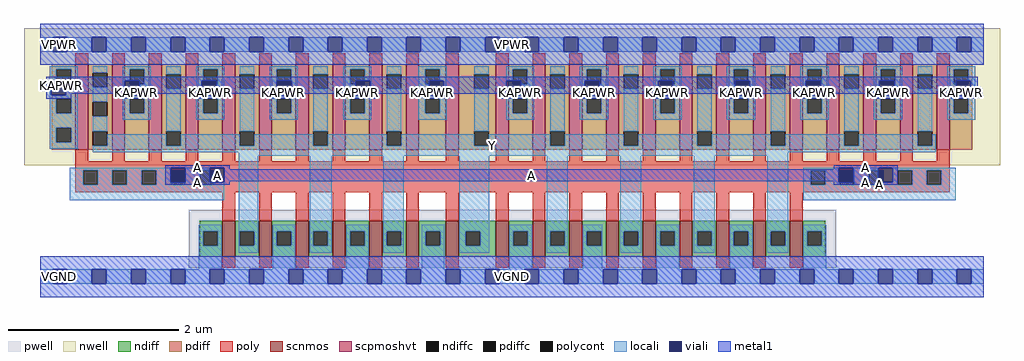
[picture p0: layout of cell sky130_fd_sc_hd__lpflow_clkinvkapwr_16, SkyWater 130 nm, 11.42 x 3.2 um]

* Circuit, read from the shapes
.subckt sky130_fd_sc_hd__lpflow_clkinvkapwr_16 A KAPWR VGND VNB VPB VPWR Y
XM1 Y A VGND VNB sky130_fd_pr__nfet_01v8 w=0.42 l=0.15 m=16
XM2 Y A KAPWR VPB sky130_fd_pr__pfet_01v8_hvt w=1 l=0.15 m=24
.ends

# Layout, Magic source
magic
tech sky130B
magscale 1 2
<< nwell >>
rect -38 261 2246 582
<< pwell >>
rect 347 21 1863 157
rect 29 -17 63 17
<< scnmos >>
rect 426 47 456 131
rect 512 47 542 131
rect 598 47 628 131
rect 684 47 714 131
rect 770 47 800 131
rect 856 47 886 131
rect 949 47 979 131
rect 1066 47 1096 131
rect 1152 47 1182 131
rect 1238 47 1268 131
rect 1324 47 1354 131
rect 1410 47 1440 131
rect 1496 47 1526 131
rect 1582 47 1612 131
rect 1668 47 1698 131
rect 1754 47 1784 131
<< scpmoshvt >>
rect 82 297 112 497
rect 168 297 198 497
rect 254 297 284 497
rect 340 297 370 497
rect 426 297 456 497
rect 512 297 542 497
rect 598 297 628 497
rect 684 297 714 497
rect 770 297 800 497
rect 856 297 886 497
rect 949 297 979 497
rect 1066 297 1096 497
rect 1152 297 1182 497
rect 1238 297 1268 497
rect 1324 297 1354 497
rect 1410 297 1440 497
rect 1496 297 1526 497
rect 1582 297 1612 497
rect 1668 297 1698 497
rect 1754 297 1784 497
rect 1840 297 1870 497
rect 1926 297 1956 497
rect 2012 297 2042 497
rect 2098 297 2128 497
<< ndiff >>
rect 373 106 426 131
rect 373 72 381 106
rect 415 72 426 106
rect 373 47 426 72
rect 456 106 512 131
rect 456 72 467 106
rect 501 72 512 106
rect 456 47 512 72
rect 542 106 598 131
rect 542 72 553 106
rect 587 72 598 106
rect 542 47 598 72
rect 628 106 684 131
rect 628 72 639 106
rect 673 72 684 106
rect 628 47 684 72
rect 714 106 770 131
rect 714 72 725 106
rect 759 72 770 106
rect 714 47 770 72
rect 800 106 856 131
rect 800 72 811 106
rect 845 72 856 106
rect 800 47 856 72
rect 886 106 949 131
rect 886 72 902 106
rect 936 72 949 106
rect 886 47 949 72
rect 979 106 1066 131
rect 979 72 996 106
rect 1030 72 1066 106
rect 979 47 1066 72
rect 1096 106 1152 131
rect 1096 72 1107 106
rect 1141 72 1152 106
rect 1096 47 1152 72
rect 1182 106 1238 131
rect 1182 72 1193 106
rect 1227 72 1238 106
rect 1182 47 1238 72
rect 1268 106 1324 131
rect 1268 72 1279 106
rect 1313 72 1324 106
rect 1268 47 1324 72
rect 1354 106 1410 131
rect 1354 72 1365 106
rect 1399 72 1410 106
rect 1354 47 1410 72
rect 1440 106 1496 131
rect 1440 72 1451 106
rect 1485 72 1496 106
rect 1440 47 1496 72
rect 1526 106 1582 131
rect 1526 72 1537 106
rect 1571 72 1582 106
rect 1526 47 1582 72
rect 1612 106 1668 131
rect 1612 72 1623 106
rect 1657 72 1668 106
rect 1612 47 1668 72
rect 1698 106 1754 131
rect 1698 72 1709 106
rect 1743 72 1754 106
rect 1698 47 1754 72
rect 1784 106 1837 131
rect 1784 72 1795 106
rect 1829 72 1837 106
rect 1784 47 1837 72
<< pdiff >>
rect 27 485 82 497
rect 27 451 38 485
rect 72 451 82 485
rect 27 417 82 451
rect 27 383 38 417
rect 72 383 82 417
rect 27 349 82 383
rect 27 315 38 349
rect 72 315 82 349
rect 27 297 82 315
rect 112 477 168 497
rect 112 443 123 477
rect 157 443 168 477
rect 112 409 168 443
rect 112 375 123 409
rect 157 375 168 409
rect 112 341 168 375
rect 112 307 123 341
rect 157 307 168 341
rect 112 297 168 307
rect 198 485 254 497
rect 198 451 209 485
rect 243 451 254 485
rect 198 417 254 451
rect 198 383 209 417
rect 243 383 254 417
rect 198 297 254 383
rect 284 474 340 497
rect 284 440 295 474
rect 329 440 340 474
rect 284 341 340 440
rect 284 307 295 341
rect 329 307 340 341
rect 284 297 340 307
rect 370 485 426 497
rect 370 451 381 485
rect 415 451 426 485
rect 370 417 426 451
rect 370 383 381 417
rect 415 383 426 417
rect 370 297 426 383
rect 456 474 512 497
rect 456 440 467 474
rect 501 440 512 474
rect 456 341 512 440
rect 456 307 467 341
rect 501 307 512 341
rect 456 297 512 307
rect 542 485 598 497
rect 542 451 553 485
rect 587 451 598 485
rect 542 417 598 451
rect 542 383 553 417
rect 587 383 598 417
rect 542 297 598 383
rect 628 474 684 497
rect 628 440 639 474
rect 673 440 684 474
rect 628 341 684 440
rect 628 307 639 341
rect 673 307 684 341
rect 628 297 684 307
rect 714 485 770 497
rect 714 451 725 485
rect 759 451 770 485
rect 714 417 770 451
rect 714 383 725 417
rect 759 383 770 417
rect 714 297 770 383
rect 800 474 856 497
rect 800 440 811 474
rect 845 440 856 474
rect 800 341 856 440
rect 800 307 811 341
rect 845 307 856 341
rect 800 297 856 307
rect 886 485 949 497
rect 886 451 901 485
rect 935 451 949 485
rect 886 417 949 451
rect 886 383 901 417
rect 935 383 949 417
rect 886 297 949 383
rect 979 474 1066 497
rect 979 440 1016 474
rect 1050 440 1066 474
rect 979 341 1066 440
rect 979 307 1016 341
rect 1050 307 1066 341
rect 979 297 1066 307
rect 1096 485 1152 497
rect 1096 451 1106 485
rect 1140 451 1152 485
rect 1096 417 1152 451
rect 1096 383 1106 417
rect 1140 383 1152 417
rect 1096 297 1152 383
rect 1182 474 1238 497
rect 1182 440 1193 474
rect 1227 440 1238 474
rect 1182 341 1238 440
rect 1182 307 1193 341
rect 1227 307 1238 341
rect 1182 297 1238 307
rect 1268 485 1324 497
rect 1268 451 1279 485
rect 1313 451 1324 485
rect 1268 417 1324 451
rect 1268 383 1279 417
rect 1313 383 1324 417
rect 1268 297 1324 383
rect 1354 474 1410 497
rect 1354 440 1365 474
rect 1399 440 1410 474
rect 1354 341 1410 440
rect 1354 307 1365 341
rect 1399 307 1410 341
rect 1354 297 1410 307
rect 1440 485 1496 497
rect 1440 451 1451 485
rect 1485 451 1496 485
rect 1440 417 1496 451
rect 1440 383 1451 417
rect 1485 383 1496 417
rect 1440 297 1496 383
rect 1526 474 1582 497
rect 1526 440 1537 474
rect 1571 440 1582 474
rect 1526 341 1582 440
rect 1526 307 1537 341
rect 1571 307 1582 341
rect 1526 297 1582 307
rect 1612 485 1668 497
rect 1612 451 1623 485
rect 1657 451 1668 485
rect 1612 417 1668 451
rect 1612 383 1623 417
rect 1657 383 1668 417
rect 1612 297 1668 383
rect 1698 474 1754 497
rect 1698 440 1709 474
rect 1743 440 1754 474
rect 1698 341 1754 440
rect 1698 307 1709 341
rect 1743 307 1754 341
rect 1698 297 1754 307
rect 1784 485 1840 497
rect 1784 451 1795 485
rect 1829 451 1840 485
rect 1784 417 1840 451
rect 1784 383 1795 417
rect 1829 383 1840 417
rect 1784 297 1840 383
rect 1870 474 1926 497
rect 1870 440 1881 474
rect 1915 440 1926 474
rect 1870 341 1926 440
rect 1870 307 1881 341
rect 1915 307 1926 341
rect 1870 297 1926 307
rect 1956 485 2012 497
rect 1956 451 1967 485
rect 2001 451 2012 485
rect 1956 417 2012 451
rect 1956 383 1967 417
rect 2001 383 2012 417
rect 1956 297 2012 383
rect 2042 474 2098 497
rect 2042 440 2053 474
rect 2087 440 2098 474
rect 2042 341 2098 440
rect 2042 307 2053 341
rect 2087 307 2098 341
rect 2042 297 2098 307
rect 2128 485 2181 497
rect 2128 451 2138 485
rect 2172 451 2181 485
rect 2128 417 2181 451
rect 2128 383 2138 417
rect 2172 383 2181 417
rect 2128 297 2181 383
<< ndiffc >>
rect 381 72 415 106
rect 467 72 501 106
rect 553 72 587 106
rect 639 72 673 106
rect 725 72 759 106
rect 811 72 845 106
rect 902 72 936 106
rect 996 72 1030 106
rect 1107 72 1141 106
rect 1193 72 1227 106
rect 1279 72 1313 106
rect 1365 72 1399 106
rect 1451 72 1485 106
rect 1537 72 1571 106
rect 1623 72 1657 106
rect 1709 72 1743 106
rect 1795 72 1829 106
<< pdiffc >>
rect 38 451 72 485
rect 38 383 72 417
rect 38 315 72 349
rect 123 443 157 477
rect 123 375 157 409
rect 123 307 157 341
rect 209 451 243 485
rect 209 383 243 417
rect 295 440 329 474
rect 295 307 329 341
rect 381 451 415 485
rect 381 383 415 417
rect 467 440 501 474
rect 467 307 501 341
rect 553 451 587 485
rect 553 383 587 417
rect 639 440 673 474
rect 639 307 673 341
rect 725 451 759 485
rect 725 383 759 417
rect 811 440 845 474
rect 811 307 845 341
rect 901 451 935 485
rect 901 383 935 417
rect 1016 440 1050 474
rect 1016 307 1050 341
rect 1106 451 1140 485
rect 1106 383 1140 417
rect 1193 440 1227 474
rect 1193 307 1227 341
rect 1279 451 1313 485
rect 1279 383 1313 417
rect 1365 440 1399 474
rect 1365 307 1399 341
rect 1451 451 1485 485
rect 1451 383 1485 417
rect 1537 440 1571 474
rect 1537 307 1571 341
rect 1623 451 1657 485
rect 1623 383 1657 417
rect 1709 440 1743 474
rect 1709 307 1743 341
rect 1795 451 1829 485
rect 1795 383 1829 417
rect 1881 440 1915 474
rect 1881 307 1915 341
rect 1967 451 2001 485
rect 1967 383 2001 417
rect 2053 440 2087 474
rect 2053 307 2087 341
rect 2138 451 2172 485
rect 2138 383 2172 417
<< poly >>
rect 82 497 112 523
rect 168 497 198 523
rect 254 497 284 523
rect 340 497 370 523
rect 426 497 456 523
rect 512 497 542 523
rect 598 497 628 523
rect 684 497 714 523
rect 770 497 800 523
rect 856 497 886 523
rect 949 497 979 523
rect 1066 497 1096 523
rect 1152 497 1182 523
rect 1238 497 1268 523
rect 1324 497 1354 523
rect 1410 497 1440 523
rect 1496 497 1526 523
rect 1582 497 1612 523
rect 1668 497 1698 523
rect 1754 497 1784 523
rect 1840 497 1870 523
rect 1926 497 1956 523
rect 2012 497 2042 523
rect 2098 497 2128 523
rect 82 270 112 297
rect 168 270 198 297
rect 254 270 284 297
rect 340 270 370 297
rect 426 270 456 297
rect 512 270 542 297
rect 598 270 628 297
rect 684 270 714 297
rect 770 270 800 297
rect 856 270 886 297
rect 949 270 979 297
rect 1066 270 1096 297
rect 1152 270 1182 297
rect 1238 270 1268 297
rect 1324 270 1354 297
rect 1410 270 1440 297
rect 1496 270 1526 297
rect 1582 270 1612 297
rect 1668 270 1698 297
rect 1754 270 1784 297
rect 1840 270 1870 297
rect 1926 270 1956 297
rect 2012 270 2042 297
rect 2098 270 2128 297
rect 82 249 2128 270
rect 82 215 101 249
rect 135 215 169 249
rect 203 215 237 249
rect 271 215 305 249
rect 339 215 373 249
rect 407 215 1803 249
rect 1837 215 1871 249
rect 1905 215 1939 249
rect 1973 215 2007 249
rect 2041 215 2075 249
rect 2109 215 2128 249
rect 82 198 2128 215
rect 426 131 456 198
rect 512 131 542 198
rect 598 131 628 198
rect 684 131 714 198
rect 770 131 800 198
rect 856 131 886 198
rect 949 131 979 198
rect 1066 131 1096 198
rect 1152 131 1182 198
rect 1238 131 1268 198
rect 1324 131 1354 198
rect 1410 131 1440 198
rect 1496 131 1526 198
rect 1582 131 1612 198
rect 1668 131 1698 198
rect 1754 131 1784 198
rect 426 21 456 47
rect 512 21 542 47
rect 598 21 628 47
rect 684 21 714 47
rect 770 21 800 47
rect 856 21 886 47
rect 949 21 979 47
rect 1066 21 1096 47
rect 1152 21 1182 47
rect 1238 21 1268 47
rect 1324 21 1354 47
rect 1410 21 1440 47
rect 1496 21 1526 47
rect 1582 21 1612 47
rect 1668 21 1698 47
rect 1754 21 1784 47
<< polycont >>
rect 101 215 135 249
rect 169 215 203 249
rect 237 215 271 249
rect 305 215 339 249
rect 373 215 407 249
rect 1803 215 1837 249
rect 1871 215 1905 249
rect 1939 215 1973 249
rect 2007 215 2041 249
rect 2075 215 2109 249
<< locali >>
rect 0 527 29 561
rect 63 527 121 561
rect 155 527 213 561
rect 247 527 305 561
rect 339 527 397 561
rect 431 527 489 561
rect 523 527 581 561
rect 615 527 673 561
rect 707 527 765 561
rect 799 527 857 561
rect 891 527 949 561
rect 983 527 1041 561
rect 1075 527 1133 561
rect 1167 527 1225 561
rect 1259 527 1317 561
rect 1351 527 1409 561
rect 1443 527 1501 561
rect 1535 527 1593 561
rect 1627 527 1685 561
rect 1719 527 1777 561
rect 1811 527 1869 561
rect 1903 527 1961 561
rect 1995 527 2053 561
rect 2087 527 2145 561
rect 2179 527 2208 561
rect 22 485 88 493
rect 22 459 38 485
rect 22 425 26 459
rect 72 451 88 485
rect 60 425 88 451
rect 22 417 88 425
rect 22 383 38 417
rect 72 383 88 417
rect 22 349 88 383
rect 22 315 38 349
rect 72 315 88 349
rect 22 299 88 315
rect 123 477 157 493
rect 123 409 157 443
rect 123 341 157 375
rect 193 485 259 493
rect 193 459 209 485
rect 193 425 198 459
rect 243 451 259 485
rect 232 425 259 451
rect 193 417 259 425
rect 193 383 209 417
rect 243 383 259 417
rect 193 367 259 383
rect 295 474 329 493
rect 295 341 329 440
rect 365 485 431 493
rect 365 459 381 485
rect 365 425 378 459
rect 415 451 431 485
rect 412 425 431 451
rect 365 417 431 425
rect 365 383 381 417
rect 415 383 431 417
rect 365 367 431 383
rect 467 474 501 493
rect 157 307 295 333
rect 467 341 501 440
rect 537 485 603 493
rect 537 451 553 485
rect 587 459 603 485
rect 537 425 554 451
rect 588 425 603 459
rect 537 417 603 425
rect 537 383 553 417
rect 587 383 603 417
rect 537 367 603 383
rect 639 474 673 493
rect 329 307 467 333
rect 639 341 673 440
rect 709 485 775 493
rect 709 451 725 485
rect 759 459 775 485
rect 709 425 738 451
rect 772 425 775 459
rect 709 417 775 425
rect 709 383 725 417
rect 759 383 775 417
rect 709 367 775 383
rect 811 474 845 493
rect 501 307 639 333
rect 811 341 845 440
rect 885 485 951 493
rect 885 451 901 485
rect 935 459 951 485
rect 885 425 910 451
rect 944 425 951 459
rect 885 417 951 425
rect 885 383 901 417
rect 935 383 951 417
rect 885 367 951 383
rect 1016 474 1050 493
rect 673 307 811 333
rect 1016 341 1050 440
rect 1090 485 1156 493
rect 1090 459 1106 485
rect 1140 451 1156 485
rect 1124 425 1156 451
rect 1090 417 1156 425
rect 1090 383 1106 417
rect 1140 383 1156 417
rect 1090 367 1156 383
rect 1193 474 1227 493
rect 845 307 1016 333
rect 1193 341 1227 440
rect 1263 485 1329 493
rect 1263 459 1279 485
rect 1263 425 1274 459
rect 1313 451 1329 485
rect 1308 425 1329 451
rect 1263 417 1329 425
rect 1263 383 1279 417
rect 1313 383 1329 417
rect 1263 367 1329 383
rect 1365 474 1399 493
rect 1050 307 1193 333
rect 1365 341 1399 440
rect 1435 485 1501 493
rect 1435 459 1451 485
rect 1435 425 1446 459
rect 1485 451 1501 485
rect 1480 425 1501 451
rect 1435 417 1501 425
rect 1435 383 1451 417
rect 1485 383 1501 417
rect 1435 367 1501 383
rect 1537 474 1571 493
rect 1227 307 1365 333
rect 1537 341 1571 440
rect 1607 485 1673 493
rect 1607 451 1623 485
rect 1657 459 1673 485
rect 1607 425 1626 451
rect 1660 425 1673 459
rect 1607 417 1673 425
rect 1607 383 1623 417
rect 1657 383 1673 417
rect 1607 367 1673 383
rect 1709 474 1743 493
rect 1399 307 1537 333
rect 1709 341 1743 440
rect 1779 485 1845 493
rect 1779 459 1795 485
rect 1779 425 1792 459
rect 1829 451 1845 485
rect 1826 425 1845 451
rect 1779 417 1845 425
rect 1779 383 1795 417
rect 1829 383 1845 417
rect 1779 367 1845 383
rect 1881 474 1915 493
rect 1571 307 1709 333
rect 1881 341 1915 440
rect 1951 485 2017 493
rect 1951 459 1967 485
rect 1951 425 1964 459
rect 2001 451 2017 485
rect 1998 425 2017 451
rect 1951 417 2017 425
rect 1951 383 1967 417
rect 2001 383 2017 417
rect 1951 367 2017 383
rect 2053 474 2087 493
rect 1743 307 1881 333
rect 2053 341 2087 440
rect 2122 485 2188 493
rect 2122 451 2138 485
rect 2172 459 2188 485
rect 2122 425 2144 451
rect 2178 425 2188 459
rect 2122 417 2188 425
rect 2122 383 2138 417
rect 2172 383 2188 417
rect 2122 367 2188 383
rect 1915 307 2053 333
rect 2087 307 2096 333
rect 123 291 2096 307
rect 465 283 1751 291
rect 69 249 305 255
rect 339 249 397 255
rect 69 215 101 249
rect 135 215 169 249
rect 203 215 237 249
rect 271 215 305 249
rect 339 215 373 249
rect 407 215 431 221
rect 69 179 431 215
rect 371 106 425 122
rect 371 72 381 106
rect 415 72 425 106
rect 371 17 425 72
rect 465 106 510 283
rect 465 72 467 106
rect 501 72 510 106
rect 465 56 510 72
rect 544 106 597 122
rect 544 72 553 106
rect 587 72 597 106
rect 544 17 597 72
rect 631 106 682 283
rect 631 72 639 106
rect 673 72 682 106
rect 631 56 682 72
rect 716 106 769 122
rect 716 72 725 106
rect 759 72 769 106
rect 716 17 769 72
rect 803 106 851 283
rect 803 72 811 106
rect 845 72 851 106
rect 803 56 851 72
rect 893 106 946 122
rect 893 72 902 106
rect 936 72 946 106
rect 893 17 946 72
rect 981 106 1051 283
rect 981 72 996 106
rect 1030 72 1051 106
rect 981 56 1051 72
rect 1098 106 1151 122
rect 1098 72 1107 106
rect 1141 72 1151 106
rect 1098 17 1151 72
rect 1185 106 1235 283
rect 1185 72 1193 106
rect 1227 72 1235 106
rect 1185 56 1235 72
rect 1270 106 1315 122
rect 1270 72 1279 106
rect 1313 72 1315 106
rect 1270 17 1315 72
rect 1357 106 1407 283
rect 1357 72 1365 106
rect 1399 72 1407 106
rect 1357 56 1407 72
rect 1442 106 1495 122
rect 1442 72 1451 106
rect 1485 72 1495 106
rect 1442 17 1495 72
rect 1529 106 1579 283
rect 1529 72 1537 106
rect 1571 72 1579 106
rect 1529 56 1579 72
rect 1614 106 1667 122
rect 1614 72 1623 106
rect 1657 72 1667 106
rect 1614 17 1667 72
rect 1701 106 1751 283
rect 1786 249 1869 255
rect 1903 249 1961 255
rect 1995 249 2142 255
rect 1786 215 1803 249
rect 1837 221 1869 249
rect 1837 215 1871 221
rect 1905 215 1939 249
rect 1995 221 2007 249
rect 1973 215 2007 221
rect 2041 215 2075 249
rect 2109 215 2142 249
rect 1786 179 2142 215
rect 1701 72 1709 106
rect 1743 72 1751 106
rect 1701 56 1751 72
rect 1786 106 1839 122
rect 1786 72 1795 106
rect 1829 72 1839 106
rect 1786 17 1839 72
rect 0 -17 29 17
rect 63 -17 121 17
rect 155 -17 213 17
rect 247 -17 305 17
rect 339 -17 397 17
rect 431 -17 489 17
rect 523 -17 581 17
rect 615 -17 673 17
rect 707 -17 765 17
rect 799 -17 857 17
rect 891 -17 949 17
rect 983 -17 1041 17
rect 1075 -17 1133 17
rect 1167 -17 1225 17
rect 1259 -17 1317 17
rect 1351 -17 1409 17
rect 1443 -17 1501 17
rect 1535 -17 1593 17
rect 1627 -17 1685 17
rect 1719 -17 1777 17
rect 1811 -17 1869 17
rect 1903 -17 1961 17
rect 1995 -17 2053 17
rect 2087 -17 2145 17
rect 2179 -17 2208 17
<< viali >>
rect 29 527 63 561
rect 121 527 155 561
rect 213 527 247 561
rect 305 527 339 561
rect 397 527 431 561
rect 489 527 523 561
rect 581 527 615 561
rect 673 527 707 561
rect 765 527 799 561
rect 857 527 891 561
rect 949 527 983 561
rect 1041 527 1075 561
rect 1133 527 1167 561
rect 1225 527 1259 561
rect 1317 527 1351 561
rect 1409 527 1443 561
rect 1501 527 1535 561
rect 1593 527 1627 561
rect 1685 527 1719 561
rect 1777 527 1811 561
rect 1869 527 1903 561
rect 1961 527 1995 561
rect 2053 527 2087 561
rect 2145 527 2179 561
rect 26 451 38 459
rect 38 451 60 459
rect 26 425 60 451
rect 198 451 209 459
rect 209 451 232 459
rect 198 425 232 451
rect 378 451 381 459
rect 381 451 412 459
rect 378 425 412 451
rect 554 451 587 459
rect 587 451 588 459
rect 554 425 588 451
rect 738 451 759 459
rect 759 451 772 459
rect 738 425 772 451
rect 910 451 935 459
rect 935 451 944 459
rect 910 425 944 451
rect 1090 451 1106 459
rect 1106 451 1124 459
rect 1090 425 1124 451
rect 1274 451 1279 459
rect 1279 451 1308 459
rect 1274 425 1308 451
rect 1446 451 1451 459
rect 1451 451 1480 459
rect 1446 425 1480 451
rect 1626 451 1657 459
rect 1657 451 1660 459
rect 1626 425 1660 451
rect 1792 451 1795 459
rect 1795 451 1826 459
rect 1792 425 1826 451
rect 1964 451 1967 459
rect 1967 451 1998 459
rect 1964 425 1998 451
rect 2144 451 2172 459
rect 2172 451 2178 459
rect 2144 425 2178 451
rect 305 249 339 255
rect 397 249 431 255
rect 305 221 339 249
rect 397 221 407 249
rect 407 221 431 249
rect 1869 249 1903 255
rect 1961 249 1995 255
rect 1869 221 1871 249
rect 1871 221 1903 249
rect 1961 221 1973 249
rect 1973 221 1995 249
rect 29 -17 63 17
rect 121 -17 155 17
rect 213 -17 247 17
rect 305 -17 339 17
rect 397 -17 431 17
rect 489 -17 523 17
rect 581 -17 615 17
rect 673 -17 707 17
rect 765 -17 799 17
rect 857 -17 891 17
rect 949 -17 983 17
rect 1041 -17 1075 17
rect 1133 -17 1167 17
rect 1225 -17 1259 17
rect 1317 -17 1351 17
rect 1409 -17 1443 17
rect 1501 -17 1535 17
rect 1593 -17 1627 17
rect 1685 -17 1719 17
rect 1777 -17 1811 17
rect 1869 -17 1903 17
rect 1961 -17 1995 17
rect 2053 -17 2087 17
rect 2145 -17 2179 17
<< metal1 >>
rect 0 561 2208 592
rect 0 527 29 561
rect 63 527 121 561
rect 155 527 213 561
rect 247 527 305 561
rect 339 527 397 561
rect 431 527 489 561
rect 523 527 581 561
rect 615 527 673 561
rect 707 527 765 561
rect 799 527 857 561
rect 891 527 949 561
rect 983 527 1041 561
rect 1075 527 1133 561
rect 1167 527 1225 561
rect 1259 527 1317 561
rect 1351 527 1409 561
rect 1443 527 1501 561
rect 1535 527 1593 561
rect 1627 527 1685 561
rect 1719 527 1777 561
rect 1811 527 1869 561
rect 1903 527 1961 561
rect 1995 527 2053 561
rect 2087 527 2145 561
rect 2179 527 2208 561
rect 0 496 2208 527
rect 14 459 2194 468
rect 14 425 26 459
rect 60 428 198 459
rect 60 425 72 428
rect 14 416 72 425
rect 186 425 198 428
rect 232 428 378 459
rect 232 425 244 428
rect 186 416 244 425
rect 366 425 378 428
rect 412 428 554 459
rect 412 425 424 428
rect 366 416 424 425
rect 542 425 554 428
rect 588 428 738 459
rect 588 425 600 428
rect 542 416 600 425
rect 726 425 738 428
rect 772 428 910 459
rect 772 425 784 428
rect 726 416 784 425
rect 898 425 910 428
rect 944 428 1090 459
rect 944 425 956 428
rect 898 416 956 425
rect 1078 425 1090 428
rect 1124 428 1274 459
rect 1124 425 1136 428
rect 1078 416 1136 425
rect 1262 425 1274 428
rect 1308 428 1446 459
rect 1308 425 1320 428
rect 1262 416 1320 425
rect 1434 425 1446 428
rect 1480 428 1626 459
rect 1480 425 1492 428
rect 1434 416 1492 425
rect 1614 425 1626 428
rect 1660 428 1792 459
rect 1660 425 1672 428
rect 1614 416 1672 425
rect 1780 425 1792 428
rect 1826 428 1964 459
rect 1826 425 1838 428
rect 1780 416 1838 425
rect 1952 425 1964 428
rect 1998 428 2144 459
rect 1998 425 2010 428
rect 1952 416 2010 425
rect 2132 425 2144 428
rect 2178 428 2194 459
rect 2178 425 2190 428
rect 2132 416 2190 425
rect 293 255 443 261
rect 293 221 305 255
rect 339 221 397 255
rect 431 252 443 255
rect 1857 255 2007 261
rect 1857 252 1869 255
rect 431 224 1869 252
rect 431 221 443 224
rect 293 215 443 221
rect 1857 221 1869 224
rect 1903 221 1961 255
rect 1995 221 2007 255
rect 1857 215 2007 221
rect 0 17 2208 48
rect 0 -17 29 17
rect 63 -17 121 17
rect 155 -17 213 17
rect 247 -17 305 17
rect 339 -17 397 17
rect 431 -17 489 17
rect 523 -17 581 17
rect 615 -17 673 17
rect 707 -17 765 17
rect 799 -17 857 17
rect 891 -17 949 17
rect 983 -17 1041 17
rect 1075 -17 1133 17
rect 1167 -17 1225 17
rect 1259 -17 1317 17
rect 1351 -17 1409 17
rect 1443 -17 1501 17
rect 1535 -17 1593 17
rect 1627 -17 1685 17
rect 1719 -17 1777 17
rect 1811 -17 1869 17
rect 1903 -17 1961 17
rect 1995 -17 2053 17
rect 2087 -17 2145 17
rect 2179 -17 2208 17
rect 0 -48 2208 -17
<< labels >>
flabel locali s 1041 289 1075 323 0 FreeSans 400 0 0 0 Y
port 7 nsew signal output
flabel locali s 397 221 431 255 0 FreeSans 400 0 0 0 A
port 1 nsew signal input
flabel metal1 s 31 429 67 465 0 FreeSans 200 0 0 0 KAPWR
port 2 nsew power bidirectional abutment
flabel metal1 s 29 -17 63 17 0 FreeSans 200 0 0 0 VGND
port 3 nsew ground bidirectional abutment
flabel metal1 s 29 527 63 561 0 FreeSans 200 0 0 0 VPWR
port 6 nsew power bidirectional abutment
flabel pwell s 29 -17 63 17 0 FreeSans 200 0 0 0 VNB
port 4 nsew ground bidirectional
flabel nwell s 29 527 63 561 0 FreeSans 200 0 0 0 VPB
port 5 nsew power bidirectional
rlabel comment s 0 0 0 0 4 lpflow_clkinvkapwr_16
rlabel locali s 1786 179 2142 255 1 A
port 1 nsew signal input
rlabel metal1 s 1857 252 2007 261 1 A
port 1 nsew signal input
rlabel metal1 s 1857 215 2007 224 1 A
port 1 nsew signal input
rlabel metal1 s 293 252 443 261 1 A
port 1 nsew signal input
rlabel metal1 s 293 224 2007 252 1 A
port 1 nsew signal input
rlabel metal1 s 293 215 443 224 1 A
port 1 nsew signal input
rlabel locali s 193 367 259 493 1 KAPWR
port 2 nsew power bidirectional abutment
rlabel locali s 365 367 431 493 1 KAPWR
port 2 nsew power bidirectional abutment
rlabel locali s 2122 367 2188 493 1 KAPWR
port 2 nsew power bidirectional abutment
rlabel locali s 537 367 603 493 1 KAPWR
port 2 nsew power bidirectional abutment
rlabel locali s 709 367 775 493 1 KAPWR
port 2 nsew power bidirectional abutment
rlabel locali s 885 367 951 493 1 KAPWR
port 2 nsew power bidirectional abutment
rlabel locali s 1090 367 1156 493 1 KAPWR
port 2 nsew power bidirectional abutment
rlabel locali s 1263 367 1329 493 1 KAPWR
port 2 nsew power bidirectional abutment
rlabel locali s 1435 367 1501 493 1 KAPWR
port 2 nsew power bidirectional abutment
rlabel locali s 1607 367 1673 493 1 KAPWR
port 2 nsew power bidirectional abutment
rlabel locali s 1779 367 1845 493 1 KAPWR
port 2 nsew power bidirectional abutment
rlabel locali s 1951 367 2017 493 1 KAPWR
port 2 nsew power bidirectional abutment
rlabel metal1 s 2132 416 2190 428 1 KAPWR
port 2 nsew power bidirectional abutment
rlabel metal1 s 1952 416 2010 428 1 KAPWR
port 2 nsew power bidirectional abutment
rlabel metal1 s 1780 416 1838 428 1 KAPWR
port 2 nsew power bidirectional abutment
rlabel metal1 s 1614 416 1672 428 1 KAPWR
port 2 nsew power bidirectional abutment
rlabel metal1 s 1434 416 1492 428 1 KAPWR
port 2 nsew power bidirectional abutment
rlabel metal1 s 1262 416 1320 428 1 KAPWR
port 2 nsew power bidirectional abutment
rlabel metal1 s 1078 416 1136 428 1 KAPWR
port 2 nsew power bidirectional abutment
rlabel metal1 s 898 416 956 428 1 KAPWR
port 2 nsew power bidirectional abutment
rlabel metal1 s 726 416 784 428 1 KAPWR
port 2 nsew power bidirectional abutment
rlabel metal1 s 542 416 600 428 1 KAPWR
port 2 nsew power bidirectional abutment
rlabel metal1 s 366 416 424 428 1 KAPWR
port 2 nsew power bidirectional abutment
rlabel metal1 s 186 416 244 428 1 KAPWR
port 2 nsew power bidirectional abutment
rlabel metal1 s 14 428 2194 468 1 KAPWR
port 2 nsew power bidirectional abutment
rlabel metal1 s 14 416 72 428 1 KAPWR
port 2 nsew power bidirectional abutment
rlabel metal1 s 0 -48 2208 48 1 VGND
port 3 nsew ground bidirectional abutment
rlabel metal1 s 0 496 2208 592 1 VPWR
port 6 nsew power bidirectional abutment
<< properties >>
string FIXED_BBOX 0 0 2208 544
string GDS_END 2318066
string GDS_FILE $PDKPATH/libs.ref/sky130_fd_sc_hd/gds/sky130_fd_sc_hd.gds
string GDS_START 2302824
string LEFclass CORE
string LEFsite unithd
string LEFsymmetry X Y R90
string path 0.000 0.000 55.200 0.000 
<< end >>
